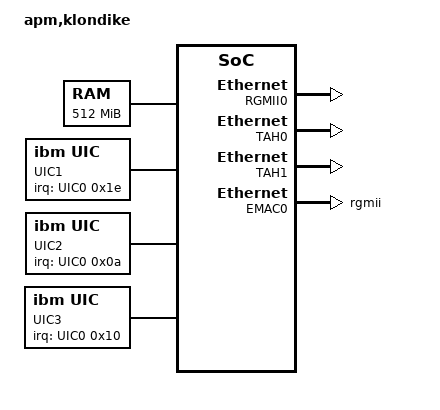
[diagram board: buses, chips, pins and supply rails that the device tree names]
/*
 * Device Tree for Klondike (APM8018X) board.
 *
 * Copyright (c) 2010, Applied Micro Circuits Corporation
 * Author: Tanmay Inamdar <tinamdar@apm.com>
 *
 * This program is free software; you can redistribute it and/or
 * modify it under the terms of the GNU General Public License as
 * published by the Free Software Foundation; either version 2 of
 * the License, or (at your option) any later version.
 *
 * This program is distributed in the hope that it will be useful,
 * but WITHOUT ANY WARRANTY; without even the implied warranty of
 * MERCHANTABILITY or FITNESS FOR A PARTICULAR PURPOSE.  See the
 * GNU General Public License for more details.
 *
 * You should have received a copy of the GNU General Public License
 * along with this program; if not, write to the Free Software
 * Foundation, Inc., 59 Temple Place, Suite 330, Boston,
 * MA 02111-1307 USA
 *
 */

/dts-v1/;

/ {
	#address-cells = <1>;
	#size-cells = <1>;
	model = "apm,klondike";
	compatible = "apm,klondike";
	dcr-parent = <&{/cpus/cpu@0}>;

	aliases {
		ethernet0 = &EMAC0;
		ethernet1 = &EMAC1;
	};

	cpus {
		#address-cells = <1>;
		#size-cells = <0>;

		cpu@0 {
			device_type = "cpu";
			model = "PowerPC,apm8018x";
			reg = <0x00000000>;
			clock-frequency = <300000000>; /* Filled in by U-Boot */
			timebase-frequency = <300000000>; /* Filled in by U-Boot */
			i-cache-line-size = <32>;
			d-cache-line-size = <32>;
			i-cache-size = <16384>; /* 16 kB */
			d-cache-size = <16384>; /* 16 kB */
			dcr-controller;
			dcr-access-method = "native";
		};
	};

	memory {
		device_type = "memory";
		reg = <0x00000000 0x20000000>; /* Filled in by U-Boot */
	};

	UIC0: interrupt-controller {
		compatible = "ibm,uic";
		interrupt-controller;
		cell-index = <0>;
		dcr-reg = <0x0c0 0x010>;
		#address-cells = <0>;
		#size-cells = <0>;
		#interrupt-cells = <2>;
	};

	UIC1: interrupt-controller1 {
		compatible = "ibm,uic";
		interrupt-controller;
		cell-index = <1>;
		dcr-reg = <0x0d0 0x010>;
		#address-cells = <0>;
		#size-cells = <0>;
		#interrupt-cells = <2>;
		interrupts = <0x1e 0x4 0x1f 0x4>; /* cascade */
		interrupt-parent = <&UIC0>;
	};

	UIC2: interrupt-controller2 {
		compatible = "ibm,uic";
		interrupt-controller;
		cell-index = <2>;
		dcr-reg = <0x0e0 0x010>;
		#address-cells = <0>;
		#size-cells = <0>;
		#interrupt-cells = <2>;
		interrupts = <0x0a 0x4 0x0b 0x4>; /* cascade */
		interrupt-parent = <&UIC0>;
	};

	UIC3: interrupt-controller3 {
		compatible = "ibm,uic";
		interrupt-controller;
		cell-index = <3>;
		dcr-reg = <0x0f0 0x010>;
		#address-cells = <0>;
		#size-cells = <0>;
		#interrupt-cells = <2>;
		interrupts = <0x10 0x4 0x11 0x4>; /* cascade */
		interrupt-parent = <&UIC0>;
	};

	plb {
		compatible = "ibm,plb4";
		#address-cells = <1>;
		#size-cells = <1>;
		ranges;
		clock-frequency = <0>; /* Filled in by U-Boot */

		SDRAM0: memory-controller {
			compatible = "ibm,sdram-apm8018x";
			dcr-reg = <0x010 0x002>;
		};

		MAL0: mcmal {
			compatible = "ibm,mcmal2";
			dcr-reg = <0x180 0x062>;
			num-tx-chans = <2>;
			num-rx-chans = <16>;
			#address-cells = <0>;
			#size-cells = <0>;
			interrupt-parent = <&UIC1>;
			interrupts = </*TXEOB*/   0x6 0x4
					/*RXEOB*/ 0x7 0x4
					/*SERR*/  0x1 0x4
					/*TXDE*/  0x2 0x4
					/*RXDE*/  0x3 0x4>;
		};

		POB0: opb {
			compatible = "ibm,opb";
			#address-cells = <1>;
			#size-cells = <1>;
			ranges = <0x20000000 0x20000000 0x30000000
				  0x50000000 0x50000000 0x10000000
				  0x60000000 0x60000000 0x10000000
				  0xFE000000 0xFE000000 0x00010000>;
			dcr-reg = <0x100 0x020>;
			clock-frequency = <300000000>; /* Filled in by U-Boot */

			RGMII0: emac-rgmii@400a2000 {
				compatible = "ibm,rgmii";
				reg = <0x400a2000 0x00000010>;
				has-mdio;
			};

			TAH0: emac-tah@400a3000 {
				compatible = "ibm,tah";
				reg = <0x400a3000 0x100>;
			};

			TAH1: emac-tah@400a4000 {
				compatible = "ibm,tah";
				reg = <0x400a4000 0x100>;
			};

			EMAC0: ethernet@400a0000 {
				compatible = "ibm,emac4", "ibm-emac4sync";
				interrupt-parent = <&EMAC0>;
				interrupts = <0x0>;
				#interrupt-cells = <1>;
				#address-cells = <0>;
				#size-cells = <0>;
				interrupt-map = </*Status*/ 0x0 &UIC0 0x13 0x4>;
				reg = <0x400a0000 0x00000100>;
				local-mac-address = [000000000000]; /* Filled in by U-Boot */
				mal-device = <&MAL0>;
				mal-tx-channel = <0x0>;
				mal-rx-channel = <0x0>;
				cell-index = <0>;
				max-frame-size = <9000>;
				rx-fifo-size = <4096>;
				tx-fifo-size = <2048>;
				phy-mode = "rgmii";
				phy-address = <0x2>;
				turbo = "no";
				phy-map = <0x00000000>;
				rgmii-device = <&RGMII0>;
				rgmii-channel = <0>;
				tah-device = <&TAH0>;
				tah-channel = <0>;
				has-inverted-stacr-oc;
				has-new-stacr-staopc;
			};

			EMAC1: ethernet@400a1000 {
				compatible = "ibm,emac4", "ibm-emac4sync";
				status = "disabled";
				interrupt-parent = <&EMAC1>;
				interrupts = <0x0>;
				#interrupt-cells = <1>;
				#address-cells = <0>;
				#size-cells = <0>;
				interrupt-map = </*Status*/ 0x0 &UIC0 0x14 0x4>;
				reg = <0x400a1000 0x00000100>;
				local-mac-address = [000000000000]; /* Filled in by U-Boot */
				mal-device = <&MAL0>;
				mal-tx-channel = <1>;
				mal-rx-channel = <8>;
				cell-index = <1>;
				max-frame-size = <9000>;
				rx-fifo-size = <4096>;
				tx-fifo-size = <2048>;
				phy-mode = "rgmii";
				phy-address = <0x3>;
				turbo = "no";
				phy-map = <0x00000000>;
				rgmii-device = <&RGMII0>;
				rgmii-channel = <1>;
				tah-device = <&TAH1>;
				tah-channel = <0>;
				has-inverted-stacr-oc;
				has-new-stacr-staopc;
				mdio-device = <&EMAC0>;
			};
		};
	};

	chosen {
		linux,stdout-path = "/plb/opb/serial@50001000";
	};
};
